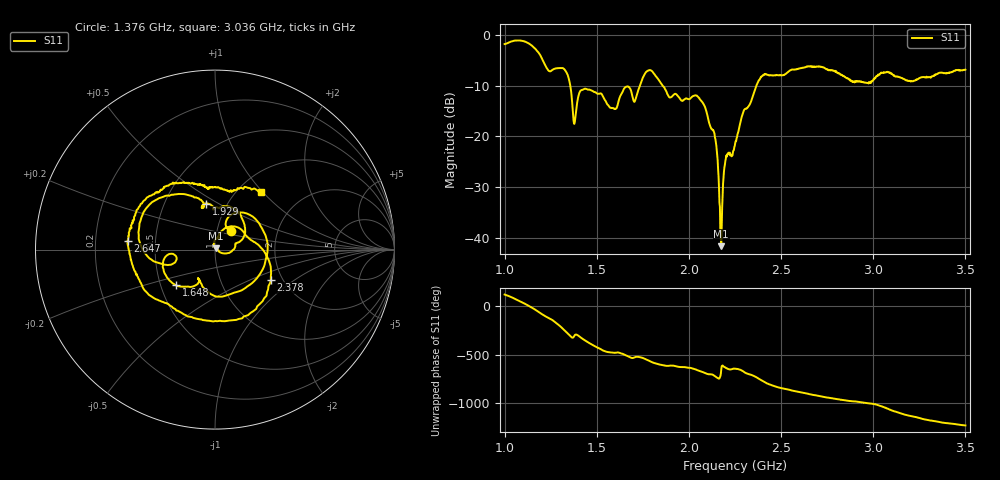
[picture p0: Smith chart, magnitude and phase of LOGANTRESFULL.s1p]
!File created by NanoVNA
# Hz S RI R 50
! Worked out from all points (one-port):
!   1024 points, 1 GHz to 3.5 GHz, reference 50 ohm
!   lowest |S11| = -41.6 dB at 2.175 GHz (marker M1), VSWR 1.02, Z = 50.3 + j0.77 ohm
!   |S11| at or under -10 dB: 1.356 GHz to 1.735 GHz (378.5 MHz wide, 24.5 % of centre); 1.857 GHz to 2.366 GHz (509.6 MHz wide, 24.1 % of centre)
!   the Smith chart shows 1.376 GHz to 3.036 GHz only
!   S11 on the Smith chart (normalised r, x): 1.376 GHz: 1.16, +0.24; 1.648 GHz: 0.60, -0.26; 1.929 GHz: 0.80, +0.44; 2.378 GHz: 1.74, -0.67; 2.647 GHz: 0.34, +0.05; 3.036 GHz: 1.28, +0.98
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1e9  -0.4451 0.6752
1.065982e9  0.295 0.8255
1.129521e9  0.8156 0.111
1.200391e9  0.1305 -0.5793
1.273705e9  -0.4401 -0.1488
1.312805e9  -0.3378 0.3275
1.351906e9  0.1648 0.3049
1.376344e9  0.0872 0.1011
1.447214e9  0.2886 -0.0309
1.625611e9  -0.1296 -0.2069
1.647605e9  -0.2167 -0.1993
1.706256e9  -0.2139 -0.0549
1.774682e9  -0.4233 0.1167
1.928641e9  -0.0474 0.2568
1.938416e9  -0.024 0.251
2.087488e9  0.1684 0.0968
2.143695e9  0.0934 -0.00973
2.175464e9  0.00328 0.00765
2.202346e9  0.0111 0.0638
2.251222e9  0.022 0.0832
2.378299e9  0.3111 -0.1687
2.434506e9  0.0288 -0.3965
2.564027e9  -0.4066 -0.2002
2.647116e9  -0.4873 0.0506
2.876833e9  -0.0593 0.3512
3.035679e9  0.2585 0.3193
3.189638e9  0.228 -0.2689
3.5e9  -0.4053 -0.203
